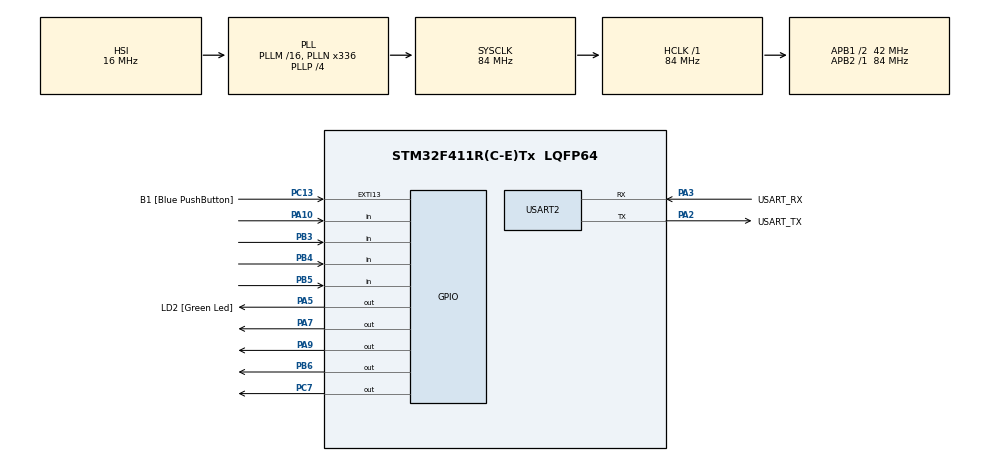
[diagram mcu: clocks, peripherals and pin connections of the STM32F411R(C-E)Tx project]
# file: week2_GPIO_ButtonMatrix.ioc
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Mcu.Family=STM32F4
Mcu.Name=STM32F411R(C-E)Tx
Mcu.Package=LQFP64
NVIC.PriorityGroup=NVIC_PRIORITYGROUP_0
PA10.GPIO_Mode=GPIO_MODE_INPUT
PA10.GPIO_PuPd=GPIO_PULLUP
PA10.Signal=GPIO_Input
PA13.GPIO_Label=TMS
PA13.Mode=Serial_Wire
PA13.Signal=SYS_JTMS-SWDIO
PA14.GPIO_Label=TCK
PA14.Mode=Serial_Wire
PA14.Signal=SYS_JTCK-SWCLK
PA2.GPIO_Label=USART_TX
PA2.Mode=Asynchronous
PA2.Signal=USART2_TX
PA3.GPIO_Label=USART_RX
PA3.Mode=Asynchronous
PA3.Signal=USART2_RX
PA5.GPIO_Label=LD2 [Green Led]
PA5.Signal=GPIO_Output
PA7.GPIO_ModeDefaultOutputPP=GPIO_MODE_OUTPUT_OD
PA7.PinState=GPIO_PIN_SET
PA7.Signal=GPIO_Output
PA9.GPIO_ModeDefaultOutputPP=GPIO_MODE_OUTPUT_OD
PA9.PinState=GPIO_PIN_SET
PA9.Signal=GPIO_Output
PB3.GPIO_Mode=GPIO_MODE_INPUT
PB3.GPIO_PuPd=GPIO_PULLUP
PB3.Signal=GPIO_Input
PB4.GPIO_Mode=GPIO_MODE_INPUT
PB4.GPIO_PuPd=GPIO_PULLUP
PB4.Signal=GPIO_Input
PB5.GPIO_Mode=GPIO_MODE_INPUT
PB5.GPIO_PuPd=GPIO_PULLUP
PB5.Signal=GPIO_Input
PB6.GPIO_ModeDefaultOutputPP=GPIO_MODE_OUTPUT_OD
PB6.PinState=GPIO_PIN_SET
PB6.Signal=GPIO_Output
PC13-ANTI_TAMP.GPIO_Label=B1 [Blue PushButton]
PC13-ANTI_TAMP.GPIO_ModeDefaultEXTI=GPIO_MODE_IT_FALLING
PC13-ANTI_TAMP.Signal=GPXTI13
PC14-OSC32_IN.Mode=LSE-External-Oscillator
PC14-OSC32_IN.Signal=RCC_OSC32_IN
PC15-OSC32_OUT.Mode=LSE-External-Oscillator
PC15-OSC32_OUT.Signal=RCC_OSC32_OUT
PC7.GPIO_ModeDefaultOutputPP=GPIO_MODE_OUTPUT_OD
PC7.PinState=GPIO_PIN_SET
PC7.Signal=GPIO_Output
PH0\ -\ OSC_IN.Mode=HSE-External-Clock-Source
PH0\ -\ OSC_IN.Signal=RCC_OSC_IN
PH1\ -\ OSC_OUT.Mode=HSE-External-Clock-Source
PH1\ -\ OSC_OUT.Signal=RCC_OSC_OUT
ProjectManager.HeapSize=0x200
ProjectManager.StackSize=0x400
ProjectManager.TargetToolchain=STM32CubeIDE
RCC.48MHZClocksFreq_Value=84000000
RCC.AHBFreq_Value=84000000
RCC.APB1CLKDivider=RCC_HCLK_DIV2
RCC.APB1Freq_Value=42000000
RCC.APB1TimFreq_Value=84000000
RCC.APB2Freq_Value=84000000
RCC.APB2TimFreq_Value=84000000
RCC.CortexFreq_Value=84000000
RCC.FLatency-AdvancedSettings=FLASH_LATENCY_2
RCC.HCLKFreq_Value=84000000
RCC.HSE_VALUE=8000000
RCC.HSI_VALUE=16000000
RCC.PLLN=336
RCC.PLLP=RCC_PLLP_DIV4
RCC.SYSCLKFreq_VALUE=84000000
RCC.SYSCLKSource=RCC_SYSCLKSOURCE_PLLCLK
RCC.VCOOutputFreq_Value=336000000
USART2.VirtualMode=VM_ASYNC
board=NUCLEO-F411RE

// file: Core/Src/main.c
/* USER CODE BEGIN Header */
/**
  ******************************************************************************
  * @file           : main.c
  * @brief          : Main program body
  ******************************************************************************
  * @attention
  *
  * <h2><center>&copy; Copyright (c) 2021 STMicroelectronics.
  * All rights reserved.</center></h2>
  *
  * This software component is licensed by ST under BSD 3-Clause license,
  * the "License"; You may not use this file except in compliance with the
  * License. You may obtain a copy of the License at:
  *                        opensource.org/licenses/BSD-3-Clause
  *
  ******************************************************************************
  */
/* USER CODE END Header */
#include "main.h"

UART_HandleTypeDef huart2;

/* USER CODE BEGIN PV */
uint16_t Matrix_State = 0;
uint16_t Last_Matrix_State = 0;
uint32_t Matrix_Time_Stamp = 0;
uint16_t Password[12] = {64, 2, 4, 16, 4096, 32, 4096, 4096, 4096, 1, 4096, 32768};
                        //6  2  3   4    0   5     0    0    0     1    0     OK
uint16_t Check_List = 0;
uint16_t Last_Check = 0;
uint8_t Press_Count = 0;
/* USER CODE END PV */

void SystemClock_Config(void);
static void MX_GPIO_Init(void);
static void MX_USART2_UART_Init(void);
/* USER CODE BEGIN PFP */
void ButtonMatrixUpdate();
/* USER CODE END PFP */

int main(void)
{

  /* MCU Configuration--------------------------------------------------------*/

  /* Reset of all peripherals, Initializes the Flash interface and the Systick. */
  HAL_Init();

  /* Configure the system clock */
  SystemClock_Config();

  /* Initialize all configured peripherals */
  MX_GPIO_Init();
  MX_USART2_UART_Init();

  /* Infinite loop */
  /* USER CODE BEGIN WHILE */
  while (1)
  {
	  ButtonMatrixUpdate();
    /* USER CODE END WHILE */

    /* USER CODE BEGIN 3 */
	  if (Last_Check == 0b0000111111111111)
	  {
		  HAL_GPIO_WritePin(GPIOA, GPIO_PIN_5, 1);
	  }

	  else
	  {
		  HAL_GPIO_WritePin(GPIOA, GPIO_PIN_5, 0);
	  }
  }
  /* USER CODE END 3 */
}

void SystemClock_Config(void)
{
  RCC_OscInitTypeDef RCC_OscInitStruct = {0};
  RCC_ClkInitTypeDef RCC_ClkInitStruct = {0};

  /** Configure the main internal regulator output voltage
  */
  __HAL_RCC_PWR_CLK_ENABLE();
  __HAL_PWR_VOLTAGESCALING_CONFIG(PWR_REGULATOR_VOLTAGE_SCALE1);
  /** Initializes the RCC Oscillators according to the specified parameters
  * in the RCC_OscInitTypeDef structure.
  */
  RCC_OscInitStruct.OscillatorType = RCC_OSCILLATORTYPE_HSI;
  RCC_OscInitStruct.HSIState = RCC_HSI_ON;
  RCC_OscInitStruct.HSICalibrationValue = RCC_HSICALIBRATION_DEFAULT;
  RCC_OscInitStruct.PLL.PLLState = RCC_PLL_ON;
  RCC_OscInitStruct.PLL.PLLSource = RCC_PLLSOURCE_HSI;
  RCC_OscInitStruct.PLL.PLLM = 16;
  RCC_OscInitStruct.PLL.PLLN = 336;
  RCC_OscInitStruct.PLL.PLLP = RCC_PLLP_DIV4;
  RCC_OscInitStruct.PLL.PLLQ = 4;
  if (HAL_RCC_OscConfig(&RCC_OscInitStruct) != HAL_OK)
  {
    Error_Handler();
  }
  /** Initializes the CPU, AHB and APB buses clocks
  */
  RCC_ClkInitStruct.ClockType = RCC_CLOCKTYPE_HCLK|RCC_CLOCKTYPE_SYSCLK
                              |RCC_CLOCKTYPE_PCLK1|RCC_CLOCKTYPE_PCLK2;
  RCC_ClkInitStruct.SYSCLKSource = RCC_SYSCLKSOURCE_PLLCLK;
  RCC_ClkInitStruct.AHBCLKDivider = RCC_SYSCLK_DIV1;
  RCC_ClkInitStruct.APB1CLKDivider = RCC_HCLK_DIV2;
  RCC_ClkInitStruct.APB2CLKDivider = RCC_HCLK_DIV1;

  if (HAL_RCC_ClockConfig(&RCC_ClkInitStruct, FLASH_LATENCY_2) != HAL_OK)
  {
    Error_Handler();
  }
}

static void MX_USART2_UART_Init(void)
{

  huart2.Instance = USART2;
  huart2.Init.BaudRate = 115200;
  huart2.Init.WordLength = UART_WORDLENGTH_8B;
  huart2.Init.StopBits = UART_STOPBITS_1;
  huart2.Init.Parity = UART_PARITY_NONE;
  huart2.Init.Mode = UART_MODE_TX_RX;
  huart2.Init.HwFlowCtl = UART_HWCONTROL_NONE;
  huart2.Init.OverSampling = UART_OVERSAMPLING_16;
  if (HAL_UART_Init(&huart2) != HAL_OK)
  {
    Error_Handler();
  }

}

static void MX_GPIO_Init(void)
{
  GPIO_InitTypeDef GPIO_InitStruct = {0};

  /* GPIO Ports Clock Enable */
  __HAL_RCC_GPIOC_CLK_ENABLE();
  __HAL_RCC_GPIOH_CLK_ENABLE();
  __HAL_RCC_GPIOA_CLK_ENABLE();
  __HAL_RCC_GPIOB_CLK_ENABLE();

  /*Configure GPIO pin Output Level */
  HAL_GPIO_WritePin(LD2_GPIO_Port, LD2_Pin, GPIO_PIN_RESET);

  /*Configure GPIO pin Output Level */
  HAL_GPIO_WritePin(GPIOA, GPIO_PIN_7|GPIO_PIN_9, GPIO_PIN_SET);

  /*Configure GPIO pin Output Level */
  HAL_GPIO_WritePin(GPIOC, GPIO_PIN_7, GPIO_PIN_SET);

  /*Configure GPIO pin Output Level */
  HAL_GPIO_WritePin(GPIOB, GPIO_PIN_6, GPIO_PIN_SET);

  /*Configure GPIO pin : B1_Pin */
  GPIO_InitStruct.Pin = B1_Pin;
  GPIO_InitStruct.Mode = GPIO_MODE_IT_FALLING;
  GPIO_InitStruct.Pull = GPIO_NOPULL;
  HAL_GPIO_Init(B1_GPIO_Port, &GPIO_InitStruct);

  /*Configure GPIO pin : LD2_Pin */
  GPIO_InitStruct.Pin = LD2_Pin;
  GPIO_InitStruct.Mode = GPIO_MODE_OUTPUT_PP;
  GPIO_InitStruct.Pull = GPIO_NOPULL;
  GPIO_InitStruct.Speed = GPIO_SPEED_FREQ_LOW;
  HAL_GPIO_Init(LD2_GPIO_Port, &GPIO_InitStruct);

  /*Configure GPIO pins : PA7 PA9 */
  GPIO_InitStruct.Pin = GPIO_PIN_7|GPIO_PIN_9;
  GPIO_InitStruct.Mode = GPIO_MODE_OUTPUT_OD;
  GPIO_InitStruct.Pull = GPIO_NOPULL;
  GPIO_InitStruct.Speed = GPIO_SPEED_FREQ_LOW;
  HAL_GPIO_Init(GPIOA, &GPIO_InitStruct);

  /*Configure GPIO pin : PC7 */
  GPIO_InitStruct.Pin = GPIO_PIN_7;
  GPIO_InitStruct.Mode = GPIO_MODE_OUTPUT_OD;
  GPIO_InitStruct.Pull = GPIO_NOPULL;
  GPIO_InitStruct.Speed = GPIO_SPEED_FREQ_LOW;
  HAL_GPIO_Init(GPIOC, &GPIO_InitStruct);

  /*Configure GPIO pin : PA10 */
  GPIO_InitStruct.Pin = GPIO_PIN_10;
  GPIO_InitStruct.Mode = GPIO_MODE_INPUT;
  GPIO_InitStruct.Pull = GPIO_PULLUP;
  HAL_GPIO_Init(GPIOA, &GPIO_InitStruct);

  /*Configure GPIO pins : PB3 PB4 PB5 */
  GPIO_InitStruct.Pin = GPIO_PIN_3|GPIO_PIN_4|GPIO_PIN_5;
  GPIO_InitStruct.Mode = GPIO_MODE_INPUT;
  GPIO_InitStruct.Pull = GPIO_PULLUP;
  HAL_GPIO_Init(GPIOB, &GPIO_InitStruct);

  /*Configure GPIO pin : PB6 */
  GPIO_InitStruct.Pin = GPIO_PIN_6;
  GPIO_InitStruct.Mode = GPIO_MODE_OUTPUT_OD;
  GPIO_InitStruct.Pull = GPIO_NOPULL;
  GPIO_InitStruct.Speed = GPIO_SPEED_FREQ_LOW;
  HAL_GPIO_Init(GPIOB, &GPIO_InitStruct);

}

/* USER CODE BEGIN 4 */
GPIO_TypeDef* Matrix_Port[8] = {GPIOA, GPIOB, GPIOB, GPIOB,  			   //Input
								GPIOA, GPIOC, GPIOB, GPIOA};			   //Output
uint16_t Matrix_Pin[8] = {GPIO_PIN_10, GPIO_PIN_3, GPIO_PIN_5, GPIO_PIN_4, //Input
						  GPIO_PIN_9, GPIO_PIN_7, GPIO_PIN_6, GPIO_PIN_7}; //Output
uint8_t Matrix_Row = 0;

void ButtonMatrixUpdate()
{
	if (HAL_GetTick() - Matrix_Time_Stamp >= 100)
	{
		Matrix_Time_Stamp = HAL_GetTick();
		int i;

		for (i=0; i<4; i++)
		{
			GPIO_PinState Pin_State = HAL_GPIO_ReadPin(Matrix_Port[i], Matrix_Pin[i]);

			if (Pin_State == 0)  //Button Pressed
			{
				Matrix_State |= ((uint16_t)0x1 << (i + Matrix_Row * 4));
			}

			else
			{
				Matrix_State &= ~((uint16_t)0x1 << (i + Matrix_Row * 4));
			}

		}
		uint8_t Now_Output_Pin = Matrix_Row + 4;
		HAL_GPIO_WritePin(Matrix_Port[Now_Output_Pin], Matrix_Pin[Now_Output_Pin], 1);
		Matrix_Row = (Matrix_Row +1) % 4;
		uint8_t Next_Output_Pin = Matrix_Row + 4;
		HAL_GPIO_WritePin(Matrix_Port[Next_Output_Pin], Matrix_Pin[Next_Output_Pin], 0);

		if ((Matrix_State != Last_Matrix_State) & (Matrix_State != 0))
		{
			Check_List = Check_List << 1;
			if (Matrix_State == Password[Press_Count])
			{
				Check_List |= 1;
			}
			Press_Count += 1;

			if (Matrix_State == 32768)
			{
				Press_Count = 0;
				Last_Check = Check_List;
				Check_List = 0;
			}

			else if (Matrix_State == 8)
			{
				Press_Count = 0;
				Check_List = 0;
			}

			else if ((Matrix_State == 128) & (Press_Count != 0))
			{
				Press_Count -= 2;
				Check_List = Check_List >> 2;
			}

		}

		Last_Matrix_State = Matrix_State;

	}
}
/* USER CODE END 4 */

void Error_Handler(void)
{
  __disable_irq();
  while (1)
  {
  }
}

/************************ (C) COPYRIGHT STMicroelectronics *****END OF FILE****/
